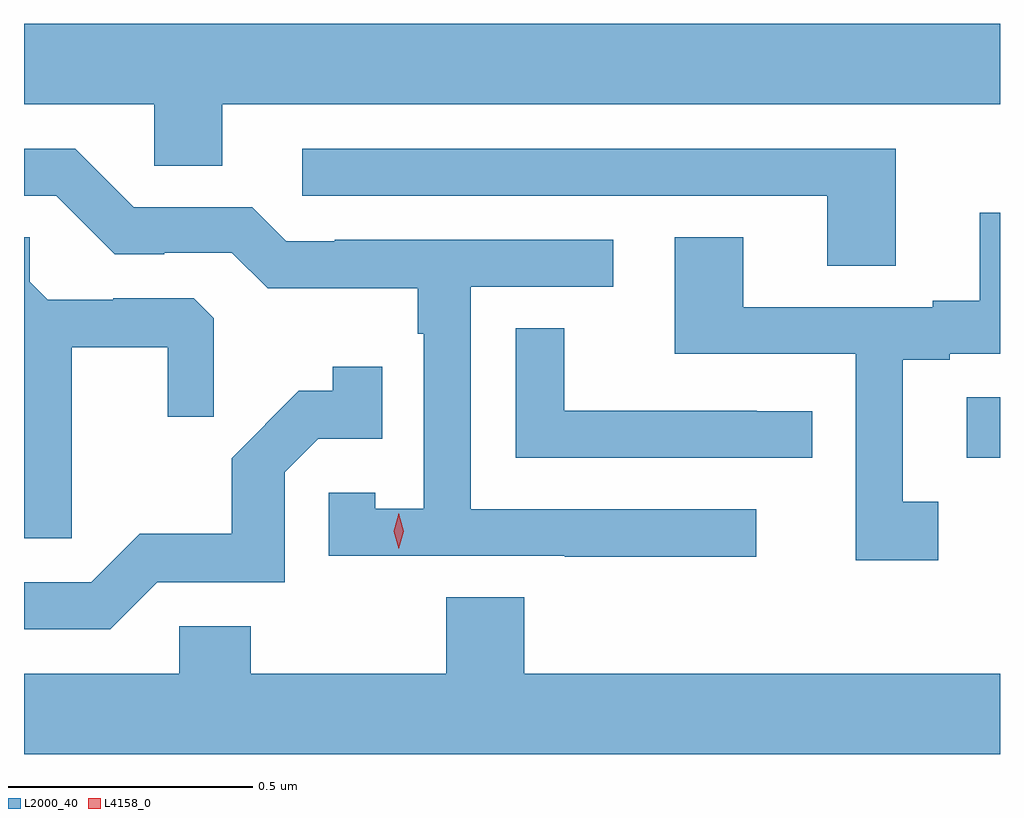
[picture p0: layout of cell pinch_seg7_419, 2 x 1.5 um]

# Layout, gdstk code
import gdstk
lib = gdstk.Library(unit=1e-6, precision=1e-09)
def R(c, l, rs):  # rectangles x0, y0, x1, y1
    for r in rs: c.add(gdstk.rectangle(r[:2], r[2:], *l))
def P(c, l, *ps):  # polygons
    for p in ps: c.add(gdstk.Polygon(p, *l))
L2000_40 = (2000, 40)
L4158_0 = (4158, 0)

pinch_seg7_419 = lib.new_cell('pinch_seg7_419')
R(pinch_seg7_419, L2000_40, [(545.241,1009.215,545.309,1009.339)])
P(pinch_seg7_419, L2000_40, [(543.715,1009.94),(545.309,1009.94),(545.309,1010.104),(543.309,1010.104),(543.309,1009.94),(543.576,1009.94),(543.576,1009.813),(543.715,1009.813)],
  [(544.81,1009.11),(544.224,1009.11),(544.224,1009.566),(544.516,1009.566),(544.516,1009.662),(543.946,1009.662),(543.946,1009.659),(543.846,1009.659),(543.777,1009.728),(543.534,1009.728),(543.414,1009.848),(543.309,1009.848),(543.309,1009.752),(543.375,1009.752),(543.495,1009.632),(543.596,1009.632),(543.596,1009.635),(543.735,1009.635),(543.808,1009.562),(544.116,1009.562),(544.116,1009.469),(544.128,1009.469),(544.128,1009.111),(544.029,1009.111),(544.029,1009.143),(543.933,1009.143),(543.933,1009.014),(544.417,1009.014),(544.417,1009.012),(544.81,1009.012)],
  [(545.095,1009.848),(543.879,1009.848),(543.879,1009.752),(544.955,1009.752),(544.955,1009.609),(545.095,1009.609)],
  [(545.182,1009.125),(545.11,1009.125),(545.11,1009.416),(545.206,1009.416),(545.206,1009.428),(545.309,1009.428),(545.309,1009.717),(545.267,1009.717),(545.267,1009.537),(545.171,1009.537),(545.171,1009.524),(544.783,1009.524),(544.783,1009.667),(544.643,1009.667),(544.643,1009.428),(545.013,1009.428),(545.013,1009.005),(545.182,1009.005)],
  [(543.407,1009.442),(543.604,1009.442),(543.604,1009.299),(543.698,1009.299),(543.698,1009.501),(543.657,1009.542),(543.492,1009.542),(543.492,1009.539),(543.358,1009.539),(543.321,1009.576),(543.321,1009.667),(543.309,1009.667),(543.309,1009.05),(543.407,1009.05)],
  [(544.924,1009.31),(544.811,1009.31),(544.811,1009.311),(544.416,1009.311),(544.416,1009.481),(544.317,1009.481),(544.317,1009.215),(544.924,1009.215)],
  [(543.582,1008.96),(543.843,1008.96),(543.843,1009.185),(543.912,1009.254),(544.043,1009.254),(544.043,1009.402),(543.942,1009.402),(543.942,1009.352),(543.872,1009.352),(543.735,1009.214),(543.735,1009.059),(543.546,1009.059),(543.447,1008.96),(543.309,1008.96),(543.309,1008.864),(543.486,1008.864)],
  [(545.309,1008.772),(544.334,1008.772),(544.334,1008.929),(544.174,1008.929),(544.174,1008.772),(543.774,1008.772),(543.774,1008.87),(543.627,1008.87),(543.627,1008.772),(543.309,1008.772),(543.309,1008.608),(545.309,1008.608)])
P(pinch_seg7_419, L4158_0, [(544.077,1009.029),(544.077,1009.029),(544.067,1009.065),(544.077,1009.101),(544.077,1009.101),(544.077,1009.101),(544.087,1009.065),(544.077,1009.029)])

lib.write_gds('pinch_seg7_419.gds')
